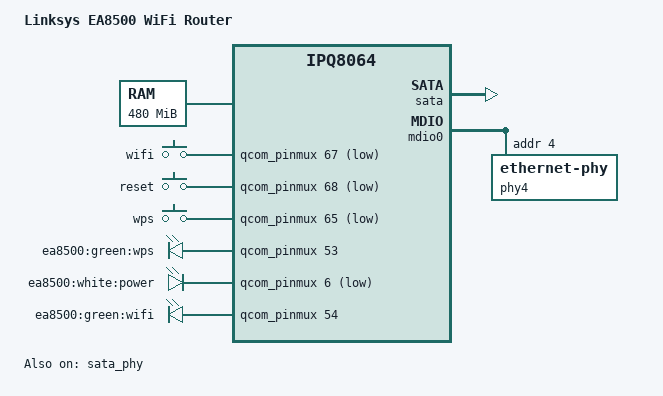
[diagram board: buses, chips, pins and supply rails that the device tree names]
#include "qcom-ipq8064-eax500.dtsi"

/ {
	model = "Linksys EA8500 WiFi Router";
	compatible = "linksys,ea8500", "qcom,ipq8064";

	memory@0 {
		reg = <0x42000000 0x1e000000>;
		device_type = "memory";
	};

	aliases {
		mdio-gpio0 = &mdio0;

		led-boot = &led_power;
		led-failsafe = &led_power;
		led-running = &led_power;
		led-upgrade = &led_power;
	};

	keys {
		compatible = "gpio-keys";
		pinctrl-0 = <&button_pins>;
		pinctrl-names = "default";

		wifi {
			label = "wifi";
			gpios = <&qcom_pinmux 67 GPIO_ACTIVE_LOW>;
			linux,code = <KEY_RFKILL>;
		};

		reset {
			label = "reset";
			gpios = <&qcom_pinmux 68 GPIO_ACTIVE_LOW>;
			linux,code = <KEY_RESTART>;
		};

		wps {
			label = "wps";
			gpios = <&qcom_pinmux 65 GPIO_ACTIVE_LOW>;
			linux,code = <KEY_WPS_BUTTON>;
		};
	};

	leds {
		compatible = "gpio-leds";
		pinctrl-0 = <&led_pins>;
		pinctrl-names = "default";

		wps {
			label = "ea8500:green:wps";
			gpios = <&qcom_pinmux 53 GPIO_ACTIVE_HIGH>;
		};

		led_power: power {
			label = "ea8500:white:power";
			gpios = <&qcom_pinmux 6 GPIO_ACTIVE_LOW>;
			default-state = "keep";
		};

		wifi {
			label = "ea8500:green:wifi";
			gpios = <&qcom_pinmux 54 GPIO_ACTIVE_HIGH>;
		};
	};
};

&qcom_pinmux {
	button_pins: button_pins {
		mux {
			pins = "gpio65", "gpio67", "gpio68";
			function = "gpio";
			drive-strength = <2>;
			bias-pull-up;
		};
	};

	led_pins: led_pins {
		mux {
			pins = "gpio6", "gpio53", "gpio54";
			function = "gpio";
			drive-strength = <2>;
			bias-pull-up;
		};
	};
};

&sata_phy {
	status = "okay";
};

&sata {
	status = "okay";
};

&partitions {
	partition@5f80000 {
		label = "syscfg";
		reg = <0x5f80000 0x2080000>;
	};
};

&mdio0 {
	phy4: ethernet-phy@4 {
		reg = <4>;
	};
};

&gmac1 {
	qcom,phy_mdio_addr = <4>;
	qcom,poll_required = <1>;
	qcom,rgmii_delay = <0>;
	qcom,emulation = <0>;
};

/* LAN */
&gmac2 {
	qcom,phy_mdio_addr = <0>;	/* none */
	qcom,poll_required = <0>;	/* no polling */
	qcom,rgmii_delay = <0>;
	qcom,emulation = <0>;
};
